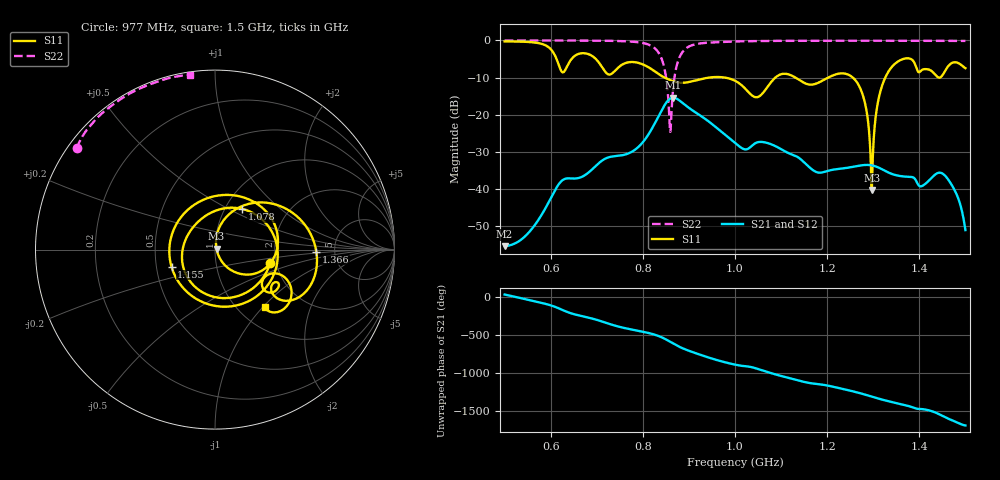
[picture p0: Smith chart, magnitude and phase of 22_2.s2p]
! TOUCHSTONE file generated by CST MICROWAVE STUDIO
! Date and time: Thu Feb 11 19:33:51 2021
! Project name: Scenario_1_Planar_Body_Tissue_Out_of_Line.cst
! Parameters = {L_HA=400; Ltissue=1000; MT=2.54; Rad_Dielectric=30; Rad_Lower=7.3; Rad_Upper=30; Wtissue=1000; a_HA=580; a_WG=246; b_HA=500; b_WG=121; c_HA=0; c_WG=187; d_feed=85; dx1=346; dy1=17.3; h_feed=15; h_lower=18; h_upper=40; hfat=3; hgap=25; hmuscle=50; hskin=1.5}
! Header version: 2018
! Port assignment regex: !\s*Touchstone port\s*([0-9]+)\s*=\s*(CST MWS port|CST DS port)\s*([0-9]+|Zmin|Zmax)\s*\(\"(.*)\"\)(\s*mode\s*([0-9]+))?.*
! Touchstone port assignment:
! Touchstone port 1 = CST MWS port 1 ("")
! Touchstone port 2 = CST MWS port 2 ("")
# GHz S DB R 50
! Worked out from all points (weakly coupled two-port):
!   1003 points, 500 MHz to 1.5 GHz, reference 50 ohm
!   highest |S21| = -15.43 dB at 866 MHz (marker M1); lowest = -55.4 dB at 500 MHz (marker M2)
!   lowest |S11| = -40.3 dB at 1.297 GHz (marker M3), VSWR 1.02, Z = 50.8 + j0.501 ohm
!   |S11| at or under -10 dB: 847.2 MHz to 944 MHz (96.79 MHz wide, 10.8 % of centre); 977.7 MHz to 1.088 GHz (109.9 MHz wide, 10.6 % of centre); 1.131 GHz to 1.202 GHz (71.32 MHz wide, 6.11 % of centre)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
!   |S22| runs from -24.6 to 0.0 dB; largest |S21 - S12| = 2.9e-06
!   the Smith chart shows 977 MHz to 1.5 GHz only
!   S11 on the Smith chart (normalised r, x): 977 MHz: 1.86, -0.31; 1.078 GHz: 1.20, +0.59; 1.155 GHz: 0.60, -0.12; 1.366 GHz: 3.59, -0.11; 1.5 GHz: 1.32, -1.02
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0.5  -0.27 -121.5  -55.41 36.0  -55.41 36.0  -0.01 151.1
0.667  -3.46 155.0  -36.77 112.7  -36.77 112.7  -0.04 138.4
0.694  -4.55 100.8  -34.25 73.0  -34.25 73.0  -0.06 135.5
0.716  -8.03 22.1  -32.00 31.3  -32.00 31.3  -0.09 132.8
0.739  -8.23 -95.9  -31.18 -13.1  -31.18 -13.1  -0.14 129.4
0.767  -5.93 177.1  -30.51 -54.4  -30.51 -54.4  -0.26 123.9
0.8  -6.46 103.3  -27.41 -94.2  -27.41 -94.2  -0.69 112.9
0.834  -9.06 23.6  -20.43 -150.7  -20.43 -150.7  -3.26 85.8
0.858  -10.62 -43.9  -15.79 137.8  -15.79 137.8  -22.15 2.9
0.866  -11.00 -69.6  -15.43 109.6  -15.43 109.6  -12.57 -134.3
0.897  -11.27 -171.6  -17.88 21.6  -17.88 21.6  -1.86 171.9
0.977  -9.99 -13.6  -25.27 -134.8  -25.27 -134.8  -0.39 143.7
1  -10.85 -66.1  -27.62 -167.8  -27.62 -167.8  -0.28 140.4
1.078  -11.29 56.2  -27.94 80.6  -27.94 80.6  -0.13 131.8
1.155  -11.69 -158.6  -33.42 -42.5  -33.42 -42.5  -0.11 125.2
1.167  -11.90 163.1  -34.74 -55.2  -34.74 -55.2  -0.10 124.2
1.261  -10.68 -22.4  -33.92 -167.7  -33.92 -167.7  -0.08 117.0
1.297  -40.26 30.5  -33.65 130.1  -33.65 130.1  -0.08 114.3
1.334  -8.21 42.2  -35.63 68.1  -35.63 68.1  -0.09 111.5
1.366  -4.96 -1.1  -36.64 22.6  -36.64 22.6  -0.09 109.1
1.453  -8.83 -21.5  -36.09 -132.0  -36.09 -132.0  -0.11 102.0
1.5  -7.47 -48.7  -51.07 110.3  -51.07 110.3  -0.13 98.0
